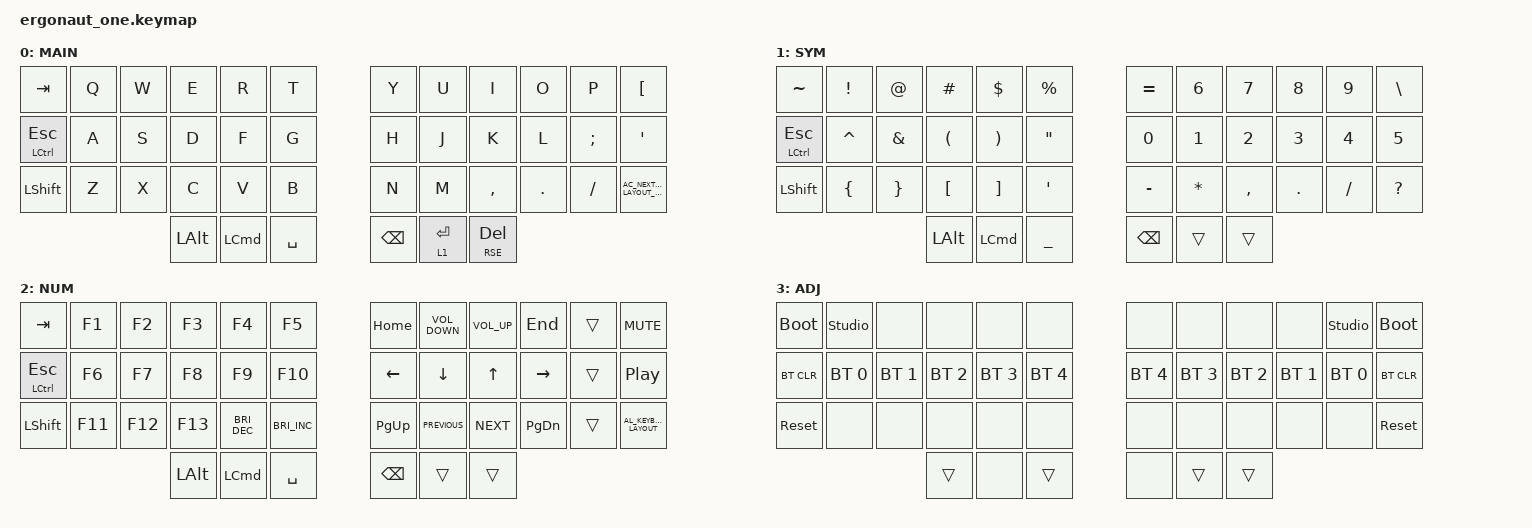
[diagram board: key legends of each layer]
#include <behaviors.dtsi>
#include <dt-bindings/zmk/bt.h>
#include <dt-bindings/zmk/keys.h>

#define DEF 0
#define LWR 1
#define RSE 2
#define ADJ 3

&lt { quick-tap-ms = <200>; };

&mt { quick-tap-ms = <200>; };

/ {
    conditional_layers {
        compatible = "zmk,conditional-layers";

        tri-layer {
            if-layers = <LWR RSE>;
            then-layer = <ADJ>;
        };
    };

    keymap {
        compatible = "zmk,keymap";

        default_layer {
            display-name = "MAIN";
            bindings = <
&kp TAB           &kp Q  &kp W  &kp E         &kp R     &kp T      &kp Y          &kp U        &kp I        &kp O    &kp P     &kp LBKT
&mt LCTRL ESCAPE  &kp A  &kp S  &kp D         &kp F     &kp G      &kp H          &kp J        &kp K        &kp L    &kp SEMI  &kp SQT
&kp LEFT_SHIFT    &kp Z  &kp X  &kp C         &kp V     &kp B      &kp N          &kp M        &kp COMMA    &kp DOT  &kp FSLH  &kp C_AC_NEXT_KEYBOARD_LAYOUT_SELECT
                                &kp LEFT_ALT  &kp LCMD  &kp SPACE  &kp BACKSPACE  &lt 1 ENTER  &lt RSE DEL
            >;
        };

        lower_layer {
            display-name = "SYM";
            bindings = <
&kp TILDE         &kp EXCL        &kp AT           &kp HASH              &kp DOLLAR             &kp PERCENT        &kp EQUAL      &kp N6        &kp N7     &kp N8   &kp N9     &kp BACKSLASH
&mt LCTRL ESCAPE  &kp CARET       &kp AMPS         &kp LEFT_PARENTHESIS  &kp RIGHT_PARENTHESIS  &kp DOUBLE_QUOTES  &kp N0         &kp N1        &kp N2     &kp N3   &kp N4     &kp N5
&kp LEFT_SHIFT    &kp LEFT_BRACE  &kp RIGHT_BRACE  &kp LEFT_BRACKET      &kp RIGHT_BRACKET      &kp SINGLE_QUOTE   &kp MINUS      &kp ASTERISK  &kp COMMA  &kp DOT  &kp SLASH  &kp QUESTION
                                                   &kp LALT              &kp LCMD               &kp UNDERSCORE     &kp BACKSPACE  &trans        &trans
            >;
        };

        raise_layer {
            display-name = "NUM";
            bindings = <
&kp TAB           &kp F1   &kp F2   &kp F3    &kp F4                &kp F5                &kp HOME       &kp C_VOLUME_DOWN  &kp C_VOLUME_UP  &kp END        &trans  &kp K_MUTE
&mt LCTRL ESCAPE  &kp F6   &kp F7   &kp F8    &kp F9                &kp F10               &kp LEFT       &kp DOWN           &kp UP           &kp RIGHT      &trans  &kp C_PLAY_PAUSE
&kp LEFT_SHIFT    &kp F11  &kp F12  &kp F13   &kp C_BRIGHTNESS_DEC  &kp C_BRIGHTNESS_INC  &kp PAGE_UP    &kp C_PREVIOUS     &kp C_NEXT       &kp PAGE_DOWN  &trans  &kp C_AL_KEYBOARD_LAYOUT
                                    &kp LALT  &kp LCMD              &kp SPACE             &kp BACKSPACE  &trans             &trans
            >;
        };

        adjust_layer {
            display-name = "ADJ";
            bindings = <
&bootloader  &studio_unlock  &none         &none         &none         &none         &none         &none         &none         &none         &studio_unlock  &bootloader
&bt BT_CLR   &bt BT_SEL 0    &bt BT_SEL 1  &bt BT_SEL 2  &bt BT_SEL 3  &bt BT_SEL 4  &bt BT_SEL 4  &bt BT_SEL 3  &bt BT_SEL 2  &bt BT_SEL 1  &bt BT_SEL 0    &bt BT_CLR
&sys_reset   &none           &none         &none         &none         &none         &none         &none         &none         &none         &none           &sys_reset
                                           &trans        &none         &trans        &none         &trans        &trans
            >;
        };
    };
};
